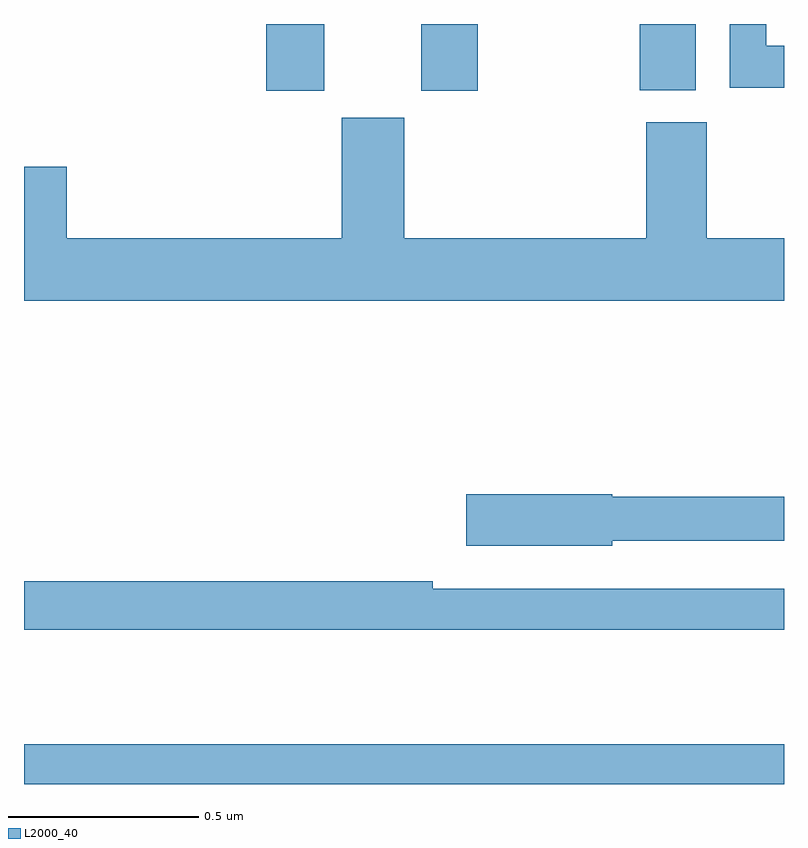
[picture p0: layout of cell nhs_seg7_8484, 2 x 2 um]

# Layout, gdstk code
import gdstk
lib = gdstk.Library(unit=1e-6, precision=1e-09)
def R(c, l, rs):  # rectangles x0, y0, x1, y1
    for r in rs: c.add(gdstk.rectangle(r[:2], r[2:], *l))
def P(c, l, *ps):  # polygons
    for p in ps: c.add(gdstk.Polygon(p, *l))
L2000_40 = (2000, 40)

nhs_seg7_8484 = lib.new_cell('nhs_seg7_8484')
R(nhs_seg7_8484, L2000_40, [(225,1010,227,1010.104), (225.638,1011.825,225.79,1012), (226.046,1011.825,226.194,1012), (226.621,1011.826,226.768,1012)])
P(nhs_seg7_8484, L2000_40, [(227,1011.943),(226.953,1011.943),(226.953,1012),(226.857,1012),(226.857,1011.832),(227,1011.832)],
  [(227,1011.436),(226.797,1011.436),(226.797,1011.741),(226.637,1011.741),(226.637,1011.436),(226,1011.436),(226,1011.753),(225.836,1011.753),(225.836,1011.436),(225.112,1011.436),(225.112,1011.625),(225,1011.625),(225,1011.272),(227,1011.272)],
  [(226.548,1010.64),(227,1010.64),(227,1010.756),(226.548,1010.756),(226.548,1010.762),(226.164,1010.762),(226.164,1010.627),(226.548,1010.627)],
  [(227,1010.514),(226.076,1010.514),(226.076,1010.534),(225,1010.534),(225,1010.406),(227,1010.406)])

lib.write_gds('nhs_seg7_8484.gds')
